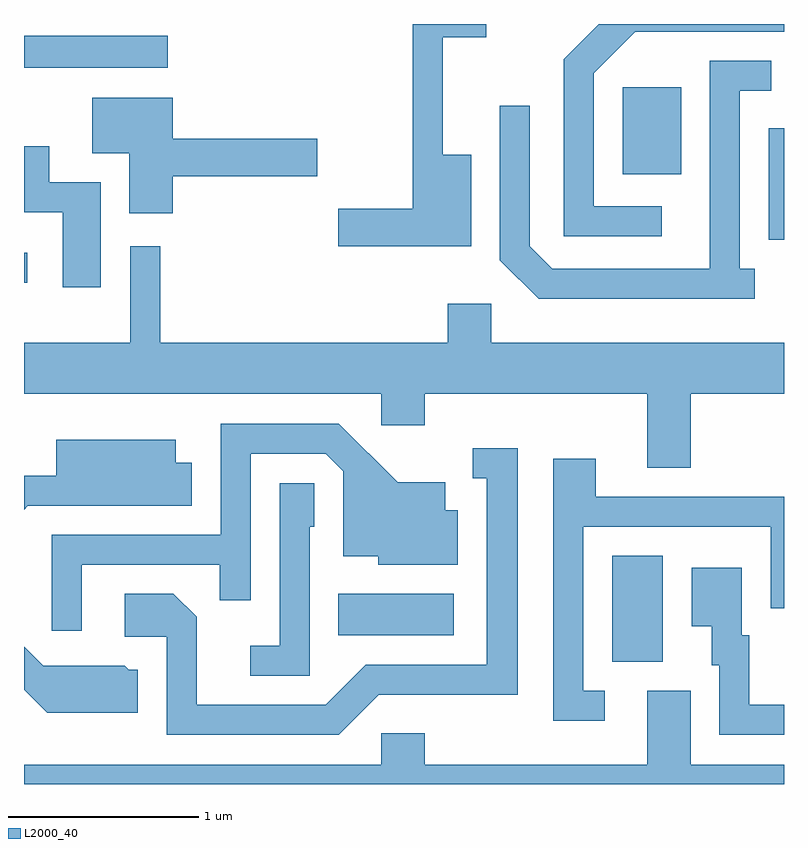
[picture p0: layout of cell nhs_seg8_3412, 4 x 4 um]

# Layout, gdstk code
import gdstk
lib = gdstk.Library(unit=1e-6, precision=1e-09)
def R(c, l, rs):  # rectangles x0, y0, x1, y1
    for r in rs: c.add(gdstk.rectangle(r[:2], r[2:], *l))
def P(c, l, *ps):  # polygons
    for p in ps: c.add(gdstk.Polygon(p, *l))
L2000_40 = (2000, 40)

nhs_seg8_3412 = lib.new_cell('nhs_seg8_3412')
R(nhs_seg8_3412, L2000_40, [(290.706,1854.986,290.974,1855.544), (289.266,1855.126,289.874,1855.344), (287.611,1856.981,287.628,1857.139), (291.531,1857.206,291.611,1857.793), (290.761,1857.551,291.069,1858.009), (287.611,1858.111,288.368,1858.279)])
P(nhs_seg8_3412, L2000_40, [(289.964,1857.654),(289.814,1857.654),(289.814,1858.271),(290.043,1858.271),(290.043,1858.342),(289.656,1858.342),(289.656,1857.369),(289.266,1857.369),(289.266,1857.171),(289.964,1857.171)],
  [(290.968,1857.384),(290.609,1857.384),(290.609,1858.084),(290.827,1858.301),(291.611,1858.301),(291.611,1858.342),(290.637,1858.342),(290.451,1858.157),(290.451,1857.226),(290.968,1857.226)],
  [(291.458,1857.054),(291.379,1857.054),(291.379,1857.991),(291.543,1857.991),(291.543,1858.149),(291.221,1858.149),(291.221,1857.054),(290.392,1857.054),(290.274,1857.172),(290.274,1857.913),(290.116,1857.913),(290.116,1857.099),(290.319,1856.896),(291.458,1856.896)],
  [(288.394,1857.541),(289.154,1857.541),(289.154,1857.739),(288.394,1857.739),(288.394,1857.954),(287.971,1857.954),(287.971,1857.661),(288.166,1857.661),(288.166,1857.346),(288.394,1857.346)],
  [(288.014,1857.509),(287.744,1857.509),(287.744,1857.698),(287.611,1857.698),(287.611,1857.351),(287.816,1857.351),(287.816,1856.956),(288.014,1856.956)],
  [(291.119,1856.396),(291.611,1856.396),(291.611,1856.664),(290.069,1856.664),(290.069,1856.869),(289.841,1856.869),(289.841,1856.664),(288.329,1856.664),(288.329,1857.173),(288.171,1857.173),(288.171,1856.664),(287.611,1856.664),(287.611,1856.396),(289.491,1856.396),(289.491,1856.231),(289.719,1856.231),(289.719,1856.396),(290.891,1856.396),(290.891,1856.006),(291.119,1856.006)],
  [(287.914,1855.496),(288.641,1855.496),(288.641,1855.308),(288.804,1855.308),(288.804,1856.081),(289.199,1856.081),(289.291,1855.989),(289.291,1855.541),(289.476,1855.541),(289.476,1855.496),(289.894,1855.496),(289.894,1855.784),(289.829,1855.784),(289.829,1855.929),(289.577,1855.929),(289.267,1856.239),(288.646,1856.239),(288.646,1855.654),(287.756,1855.654),(287.756,1855.148),(287.914,1855.148)],
  [(287.632,1855.806),(288.494,1855.806),(288.494,1856.034),(288.409,1856.034),(288.409,1856.154),(287.781,1856.154),(287.781,1855.964),(287.611,1855.964),(287.611,1855.786)],
  [(289.477,1854.811),(290.209,1854.811),(290.209,1856.109),(289.973,1856.109),(289.973,1855.951),(290.046,1855.951),(290.046,1854.969),(289.409,1854.969),(289.199,1854.759),(288.519,1854.759),(288.519,1855.222),(288.397,1855.344),(288.141,1855.344),(288.141,1855.116),(288.361,1855.116),(288.361,1854.601),(289.267,1854.601)],
  [(290.668,1854.834),(290.554,1854.834),(290.554,1855.696),(291.541,1855.696),(291.541,1855.268),(291.611,1855.268),(291.611,1855.854),(290.619,1855.854),(290.619,1856.054),(290.396,1856.054),(290.396,1854.676),(290.668,1854.676)],
  [(289.114,1855.696),(289.139,1855.696),(289.139,1855.924),(288.956,1855.924),(288.956,1855.069),(288.803,1855.069),(288.803,1854.911),(289.114,1854.911)],
  [(291.611,1854.759),(291.429,1854.759),(291.429,1855.124),(291.389,1855.124),(291.389,1855.479),(291.126,1855.479),(291.126,1855.171),(291.231,1855.171),(291.231,1854.966),(291.271,1854.966),(291.271,1854.601),(291.611,1854.601)],
  [(288.209,1854.944),(288.162,1854.944),(288.142,1854.964),(287.712,1854.964),(287.611,1855.065),(287.611,1854.839),(287.734,1854.716),(288.209,1854.716)],
  [(291.611,1854.444),(291.119,1854.444),(291.119,1854.834),(290.891,1854.834),(290.891,1854.444),(289.719,1854.444),(289.719,1854.609),(289.491,1854.609),(289.491,1854.444),(287.611,1854.444),(287.611,1854.342),(291.611,1854.342)])

lib.write_gds('nhs_seg8_3412.gds')
